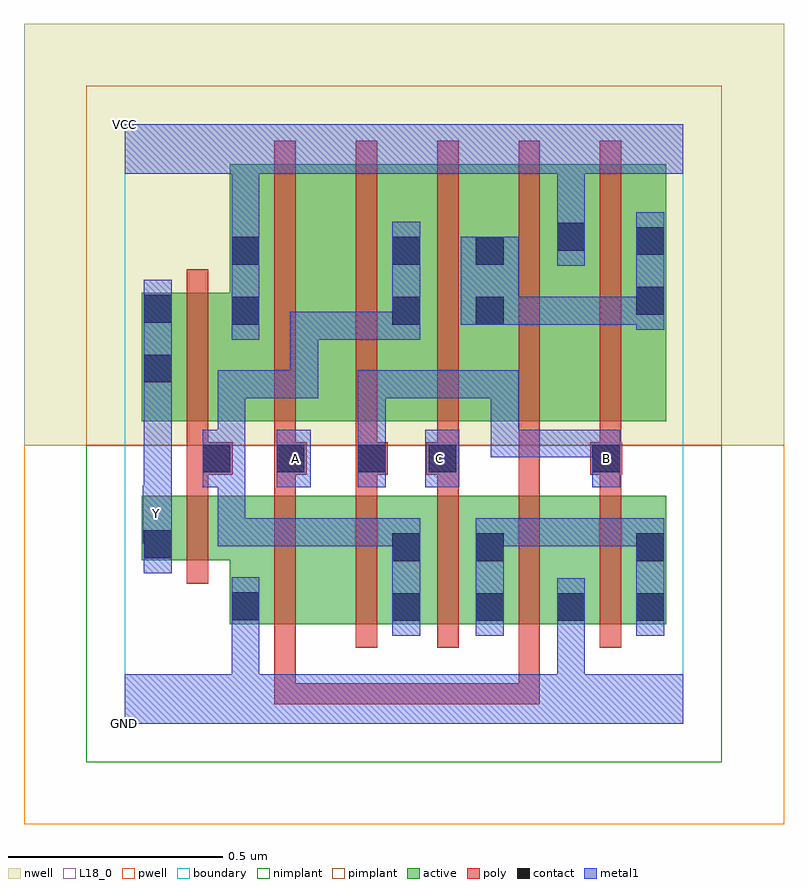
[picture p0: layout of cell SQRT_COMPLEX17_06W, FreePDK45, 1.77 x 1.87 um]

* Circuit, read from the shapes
.subckt SQRT_COMPLEX17_06W A B C GND VCC Y
M1 GND n1 Y VSUBS nfet w=0.15u l=0.05u
M2 n2 A GND VSUBS nfet w=0.3u l=0.05u
M3 n1 B n2 VSUBS nfet w=0.3u l=0.05u
M4 n3 C n1 VSUBS nfet w=0.3u l=0.05u
M5 GND A n3 VSUBS nfet w=0.3u l=0.05u
M6 n3 B GND VSUBS nfet w=0.3u l=0.05u
M7 VCC n1 Y n4 pfet w=0.3u l=0.05u
M8 n5 A VCC n4 pfet w=0.6u l=0.05u
M9 n1 B n5 n4 pfet w=0.6u l=0.05u
M10 n6 C n1 n4 pfet w=0.6u l=0.05u
M11 VCC A n6 n4 pfet w=0.6u l=0.05u
M12 n6 B VCC n4 pfet w=0.6u l=0.05u
.ends

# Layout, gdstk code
import gdstk
lib = gdstk.Library(unit=1e-6, precision=1e-09)
def R(c, l, rs):  # rectangles x0, y0, x1, y1
    for r in rs: c.add(gdstk.rectangle(r[:2], r[2:], *l))
def A(c, l, x, y, w, h, nx, ny, dx, dy):  # array of equal rectangles
    R(c, l, [(x+i*dx, y+j*dy, x+i*dx+w, y+j*dy+h) for i in range(nx) for j in range(ny)])
active = (1, 0)
pwell = (2, 0)
nwell = (3, 0)
nimplant = (4, 0)
pimplant = (5, 0)
poly = (9, 0)
contact = (10, 0)
metal1 = (11, 0)
L18_0 = (18, 0)
boundary = (235, 0)

sqrt_complex17_06w = lib.new_cell('SQRT_COMPLEX17_06W')
R(sqrt_complex17_06w, active, [(0.245,0.232,0.47,0.532), (0.47,0.232,0.695,0.532), (0.62,0.232,0.695,0.532), (0.62,0.232,0.89,0.532), (0.815,0.232,1.08,0.532), (0.815,0.232,0.89,0.532), (1.005,0.232,1.265,0.532), (1.005,0.232,1.08,0.517), (1.19,0.235,1.265,0.532), (0.245,0.237,0.32,0.382), (0.04,0.382,0.32,0.532), (0.04,0.382,0.115,0.532), (0.04,0.707,0.115,1.007), (0.04,0.707,0.32,1.007), (0.245,0.707,0.47,1.307), (0.47,0.707,0.695,1.307), (0.62,0.707,0.695,1.2), (0.62,0.707,0.89,1.307), (0.815,0.707,0.89,1.2), (0.815,0.707,1.08,1.307), (1.005,0.707,1.265,1.307), (1.005,0.707,1.08,1.307), (1.19,0.707,1.265,1.2), (0.245,0.767,0.32,1.307)])
R(sqrt_complex17_06w, pwell, [(-0.235,-0.235,1.54,0.65)])
R(sqrt_complex17_06w, nwell, [(-0.235,0.65,1.54,1.635)])
R(sqrt_complex17_06w, nimplant, [(-0.09,-0.09,1.395,0.65)])
R(sqrt_complex17_06w, pimplant, [(-0.09,0.65,1.395,1.49)])
A(sqrt_complex17_06w, poly, 0.35, 0.177, 0.05, 0.41, 5, 1, 0.19, 0)
A(sqrt_complex17_06w, poly, 0.35, 0.537, 0.05, 0.095, 5, 1, 0.19, 0)
A(sqrt_complex17_06w, poly, 0.35, 0.607, 0.05, 0.095, 3, 1, 0.19, 0)
A(sqrt_complex17_06w, poly, 0.35, 0.652, 0.05, 0.71, 5, 1, 0.19, 0)
R(sqrt_complex17_06w, poly, [(0.35,0.045,0.4,0.095), (0.35,0.045,0.4,0.095), (0.35,0.045,0.4,0.095), (0.35,0.045,0.4,0.227), (0.35,0.045,0.622,0.095), (0.572,0.045,0.622,0.095), (0.572,0.045,0.622,0.095), (0.572,0.045,0.622,0.095), (0.572,0.045,0.837,0.095), (0.787,0.045,0.837,0.095), (0.787,0.045,0.837,0.095), (0.787,0.045,0.837,0.095), (0.787,0.045,0.97,0.095), (0.92,0.045,0.97,0.095), (0.92,0.045,0.97,0.227), (0.145,0.327,0.195,0.587), (0.145,0.537,0.195,0.632), (0.145,0.582,0.252,0.657), (0.35,0.582,0.425,0.657), (0.54,0.582,0.615,0.657), (0.705,0.582,0.78,0.657), (0.92,0.582,0.97,0.702), (0.92,0.582,0.97,0.632), (1.087,0.582,1.162,0.657), (0.145,0.607,0.195,0.702), (1.11,0.607,1.16,0.702), (0.145,0.652,0.195,1.062)])
R(sqrt_complex17_06w, contact, [(0.625,0.24,0.69,0.305), (0.82,0.24,0.885,0.305), (1.01,0.24,1.075,0.305), (1.195,0.24,1.26,0.305), (0.25,0.242,0.315,0.307), (0.625,0.38,0.69,0.445), (0.82,0.38,0.885,0.445), (1.195,0.38,1.26,0.445), (0.045,0.387,0.11,0.452), (0.182,0.587,0.247,0.652), (0.355,0.587,0.42,0.652), (0.545,0.587,0.61,0.652), (0.71,0.587,0.775,0.652), (1.092,0.587,1.157,0.652), (0.045,0.797,0.11,0.862), (0.25,0.932,0.315,0.997), (0.625,0.932,0.69,0.997), (0.82,0.932,0.885,0.997), (0.045,0.937,0.11,1.002), (1.195,0.955,1.26,1.02), (0.25,1.072,0.315,1.137), (0.625,1.072,0.69,1.137), (0.82,1.072,0.885,1.137), (1.195,1.095,1.26,1.16), (1.01,1.105,1.075,1.17)])
R(sqrt_complex17_06w, metal1, [(0,0,1.305,0.115), (0.25,0.05,0.315,0.115), (0.25,0.05,0.315,0.115), (0.25,0.05,0.315,0.115), (0.25,0.05,0.315,0.115), (0.25,0.05,0.315,0.272), (1.01,0.05,1.075,0.27), (0.625,0.205,0.69,0.48), (0.82,0.205,0.885,0.48), (1.01,0.205,1.075,0.27), (1.01,0.205,1.075,0.27), (1.01,0.205,1.075,0.27), (1.01,0.205,1.075,0.27), (1.01,0.205,1.075,0.34), (1.195,0.205,1.26,0.48), (0.25,0.207,0.315,0.342), (0.045,0.352,0.11,0.487), (0.217,0.415,0.282,0.48), (0.217,0.415,0.472,0.48), (0.217,0.415,0.282,0.687), (0.407,0.415,0.472,0.48), (0.407,0.415,0.472,0.48), (0.407,0.415,0.472,0.48), (0.407,0.415,0.61,0.48), (0.545,0.415,0.61,0.48), (0.545,0.415,0.69,0.48), (0.82,0.415,0.92,0.48), (0.855,0.415,0.92,0.48), (0.855,0.415,1.057,0.48), (0.992,0.415,1.057,0.48), (0.992,0.415,1.26,0.48), (1.195,0.415,1.26,0.48), (1.195,0.415,1.26,0.48), (0.042,0.422,0.11,0.557), (0.045,0.422,0.11,0.487), (0.045,0.492,0.11,0.827), (0.182,0.552,0.247,0.687), (0.355,0.552,0.435,0.687), (0.545,0.552,0.61,0.687), (0.702,0.552,0.782,0.687), (1.092,0.552,1.157,0.687), (0.182,0.622,0.282,0.687), (0.217,0.622,0.282,0.687), (0.217,0.622,0.282,0.825), (0.545,0.622,0.61,0.687), (0.545,0.622,0.61,0.687), (0.545,0.622,0.61,0.825), (0.855,0.622,0.92,0.687), (0.855,0.622,0.92,0.687), (0.855,0.622,0.92,0.687), (0.855,0.622,1.122,0.687), (0.855,0.622,0.92,0.825), (1.057,0.622,1.122,0.687), (1.057,0.622,1.157,0.687), (0.217,0.76,0.282,0.825), (0.217,0.76,0.452,0.825), (0.387,0.76,0.452,0.825), (0.387,0.76,0.452,0.825), (0.387,0.76,0.452,0.825), (0.387,0.76,0.452,0.962), (0.545,0.76,0.61,0.825), (0.545,0.76,0.782,0.825), (0.717,0.76,0.782,0.825), (0.717,0.76,0.92,0.825), (0.855,0.76,0.92,0.825), (0.045,0.762,0.11,1.037), (0.25,0.897,0.315,1.172), (0.387,0.897,0.452,0.962), (0.387,0.897,0.61,0.962), (0.545,0.897,0.61,0.962), (0.545,0.897,0.69,0.962), (0.625,0.897,0.69,1.172), (1.195,0.92,1.26,1.195), (0.785,0.932,0.92,1.137), (0.855,0.932,0.92,0.997), (0.855,0.932,0.92,0.997), (0.855,0.932,1.057,0.997), (0.992,0.932,1.057,0.997), (0.992,0.932,1.057,0.997), (0.992,0.932,1.057,0.997), (0.992,0.932,1.26,0.997), (1.195,0.932,1.26,0.997), (1.195,0.932,1.26,0.997), (1.01,1.07,1.075,1.205), (0.25,1.107,0.315,1.35), (1.01,1.14,1.075,1.35), (0,1.285,1.305,1.4)])
R(sqrt_complex17_06w, L18_0, [(0,0,1.305,0.115), (0.25,0.05,0.315,0.115), (0.25,0.05,0.315,0.115), (0.25,0.05,0.315,0.115), (0.25,0.05,0.315,0.115), (0.25,0.05,0.315,0.272), (1.01,0.05,1.075,0.27), (1.01,0.205,1.075,0.34), (1.01,0.205,1.075,0.27), (1.01,0.205,1.075,0.27), (1.01,0.205,1.075,0.27), (1.01,0.205,1.075,0.27), (0.25,0.207,0.315,0.342), (0.045,0.352,0.11,0.487), (0.042,0.422,0.11,0.557), (0.045,0.422,0.11,0.487), (0.042,0.457,0.107,0.522), (0.045,0.492,0.11,0.827), (0.355,0.552,0.435,0.687), (0.545,0.552,0.61,0.687), (0.702,0.552,0.782,0.687), (1.092,0.552,1.157,0.687), (0.367,0.587,0.432,0.652), (0.702,0.587,0.767,0.652), (1.092,0.587,1.157,0.652), (0.545,0.622,0.61,0.687), (0.545,0.622,0.61,0.687), (0.545,0.622,0.61,0.825), (0.855,0.622,0.92,0.687), (0.855,0.622,0.92,0.687), (0.855,0.622,0.92,0.687), (0.855,0.622,0.92,0.825), (0.855,0.622,1.122,0.687), (1.057,0.622,1.122,0.687), (1.057,0.622,1.157,0.687), (0.545,0.76,0.61,0.825), (0.545,0.76,0.782,0.825), (0.717,0.76,0.782,0.825), (0.717,0.76,0.92,0.825), (0.855,0.76,0.92,0.825), (0.045,0.762,0.11,1.037), (0.25,0.897,0.315,1.172), (1.01,1.07,1.075,1.205), (0.25,1.107,0.315,1.35), (1.01,1.14,1.075,1.35), (0,1.285,1.305,1.4)])
R(sqrt_complex17_06w, boundary, [(0,0,1.305,1.4)])
sqrt_complex17_06w.add(gdstk.Label('A', (0.4,0.62), layer=11, texttype=0))
sqrt_complex17_06w.add(gdstk.Label('B', (1.125,0.62), layer=11, texttype=0))
sqrt_complex17_06w.add(gdstk.Label('C', (0.735,0.62), layer=11, texttype=0))
sqrt_complex17_06w.add(gdstk.Label('Y', (0.075,0.49), layer=11, texttype=0))
sqrt_complex17_06w.add(gdstk.Label('VCC', (0,1.4), layer=11, texttype=0))
sqrt_complex17_06w.add(gdstk.Label('GND', (0,0), layer=11, texttype=0))

lib.write_gds('SQRT_COMPLEX17_06W.gds')
